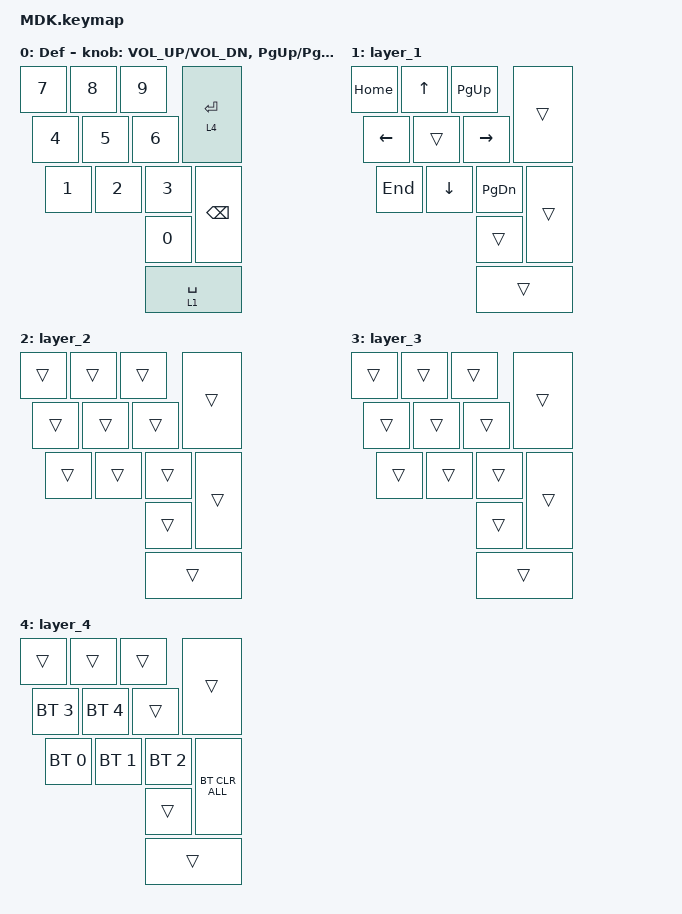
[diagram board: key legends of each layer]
// #include <layout_shift.dtsi>

#include <layout_shift_kp_override.dtsi>
#include <behaviors.dtsi>
#include <dt-bindings/zmk/bt.h>
#include <dt-bindings/zmk/keys.h>

#define DEF 0
#define FUNC 1
#define NUM 2
#define MOUSE 3
#define SCROLL 4
#define BT 5

/ {
    keymap {
        compatible = "zmk,keymap";

        default_layer {
            label = "Def";
            bindings = <
&kp N7  &kp N8       &kp N9  &lt 4 ENTER
&kp N4  &kp N5       &kp N6
&kp N1  &kp N2       &kp N3  &kp BACKSPACE
&kp N0  &lt 1 SPACE
            >;

            sensor-bindings = <&inc_dec_kp C_VOL_UP C_VOL_DN &inc_dec_kp PG_UP PG_DN &inc_dec_kp PG_UP PG_DN>;
        };

        layer_1 {
            bindings = <
&kp HOME  &kp UP    &kp PG_UP  &trans
&kp LEFT  &trans    &kp RIGHT
&kp END   &kp DOWN  &kp PG_DN  &trans
&trans    &trans
            >;
        };

        layer_2 {
            bindings = <
&trans  &trans  &trans  &trans
&trans  &trans  &trans
&trans  &trans  &trans  &trans
&trans  &trans
            >;
        };

        layer_3 {
            bindings = <
&trans  &trans  &trans  &trans
&trans  &trans  &trans
&trans  &trans  &trans  &trans
&trans  &trans
            >;
        };

        layer_4 {
            bindings = <
&trans        &trans        &trans        &trans
&bt BT_SEL 3  &bt BT_SEL 4  &trans
&bt BT_SEL 0  &bt BT_SEL 1  &bt BT_SEL 2  &bt BT_CLR_ALL
&trans        &trans
            >;
        };
    };
};
